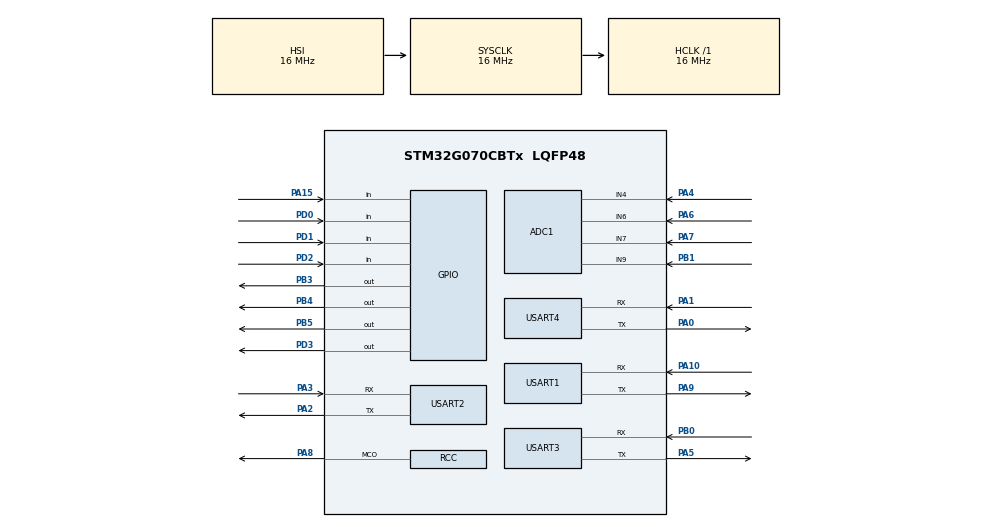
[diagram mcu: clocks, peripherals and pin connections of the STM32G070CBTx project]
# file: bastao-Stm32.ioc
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ADC1.Channel-0\#ChannelRegularConversion=ADC_CHANNEL_4
ADC1.NbrOfConversionFlag=1
ADC1.Rank-0\#ChannelRegularConversion=1
ADC1.SamplingTime-0\#ChannelRegularConversion=ADC_SAMPLINGTIME_COMMON_1
ADC1.SelectedChannel=ADC_CHANNEL_4|ADC_CHANNEL_6|ADC_CHANNEL_7|ADC_CHANNEL_9
ADC1.master=1
Mcu.Family=STM32G0
Mcu.Name=STM32G070CBTx
Mcu.Package=LQFP48
PA0.Mode=Asynchronous
PA0.Signal=USART4_TX
PA1.Mode=Asynchronous
PA1.Signal=USART4_RX
PA10.Mode=Asynchronous
PA10.Signal=USART1_RX
PA13.Mode=Serial_Wire
PA13.Signal=SYS_SWDIO
PA14-BOOT0.Mode=Serial_Wire
PA14-BOOT0.Signal=SYS_SWCLK
PA15.Signal=GPIO_Input
PA2.Mode=Asynchronous
PA2.Signal=USART2_TX
PA3.Mode=Asynchronous
PA3.Signal=USART2_RX
PA4.Mode=IN4
PA4.Signal=ADC1_IN4
PA5.Mode=Asynchronous
PA5.Signal=USART3_TX
PA6.Mode=IN6
PA6.Signal=ADC1_IN6
PA7.Mode=IN7
PA7.Signal=ADC1_IN7
PA8.Mode=Clock-out
PA8.Signal=RCC_MCO
PA9.Mode=Asynchronous
PA9.Signal=USART1_TX
PB0.Mode=Asynchronous
PB0.Signal=USART3_RX
PB1.Mode=IN9
PB1.Signal=ADC1_IN9
PB3.Signal=GPIO_Output
PB4.Signal=GPIO_Output
PB5.Signal=GPIO_Output
PC14-OSC32_IN\ (PC14).Mode=LSE-External-Oscillator
PC14-OSC32_IN\ (PC14).Signal=RCC_OSC32_IN
PC15-OSC32_OUT\ (PC15).Mode=LSE-External-Oscillator
PC15-OSC32_OUT\ (PC15).Signal=RCC_OSC32_OUT
PD0.Signal=GPIO_Input
PD1.Signal=GPIO_Input
PD2.Signal=GPIO_Input
PD3.Signal=GPIO_Output
PF0-OSC_IN\ (PF0).Mode=HSE-External-Oscillator
PF0-OSC_IN\ (PF0).Signal=RCC_OSC_IN
PF1-OSC_OUT\ (PF1).Mode=HSE-External-Oscillator
PF1-OSC_OUT\ (PF1).Signal=RCC_OSC_OUT
ProjectManager.HeapSize=0x200
ProjectManager.StackSize=0x400
ProjectManager.TargetToolchain=STM32CubeIDE
RCC.AHBFreq_Value=16000000
RCC.CortexFreq_Value=16000000
RCC.EXTERNAL_CLOCK_VALUE=48000
RCC.HCLKFreq_Value=16000000
RCC.HSE_VALUE=8000000
RCC.HSI_VALUE=16000000
RCC.SYSCLKFreq_VALUE=16000000
RCC.VCOOutputFreq_Value=128000000
USART1.VirtualMode-Asynchronous=VM_ASYNC
USART2.VirtualMode-Asynchronous=VM_ASYNC
USART3.VirtualMode-Asynchronous=VM_ASYNC
USART4.VirtualMode-Asynchronous=VM_ASYNC
board=custom

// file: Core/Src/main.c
/* USER CODE BEGIN Header */
/**
  ******************************************************************************
  * @file           : main.c
  * @brief          : Main program body
  ******************************************************************************
  * @attention
  *
  * Copyright (c) 2026 STMicroelectronics.
  * All rights reserved.
  *
  * This software is licensed under terms that can be found in the LICENSE file
  * in the root directory of this software component.
  * If no LICENSE file comes with this software, it is provided AS-IS.
  *
  ******************************************************************************
  */
/* USER CODE END Header */
#include "main.h"

/* USER CODE BEGIN Includes */
#include <stdio.h>
#include <string.h>
#include <stdlib.h>
#include "alerts.h"
#include "power_mgmt.h"
#include "rfid_parser.h"

/* USER CODE END Includes */

/* USER CODE BEGIN PD */
#define YRM100_POLL_MS 100

/* Modo de teste do YRM100:
   - Faz poll a cada 500ms
   - Envia dump hex dos bytes recebidos para o ESP32
   - Nao processa tags, buzzer, bateria, etc */
// #define YRM100_TEST_MODE
/* USER CODE END PD */

ADC_HandleTypeDef hadc1;

UART_HandleTypeDef huart1;
UART_HandleTypeDef huart2;
UART_HandleTypeDef huart3;
UART_HandleTypeDef huart4;

/* USER CODE BEGIN PV */
uint8_t byte_yrm100;
uint8_t byte_wl134;
uint8_t cmd_byte;
uint8_t cmd_line_buffer[CMD_BUFFER_SIZE];
volatile uint16_t cmd_line_index;

uint32_t last_battery_check = 0;
uint32_t last_heartbeat = 0;
uint32_t last_yrm100_poll = 0;

/* USER CODE END PV */

void SystemClock_Config(void);
static void MX_GPIO_Init(void);
static void MX_ADC1_Init(void);
static void MX_USART1_UART_Init(void);
static void MX_USART2_UART_Init(void);
static void MX_USART3_UART_Init(void);
static void MX_USART4_UART_Init(void);
/* USER CODE BEGIN PFP */
#ifdef YRM100_TEST_MODE
static void YRM100_TestLoop(void);
#endif
/* USER CODE END PFP */

int main(void)
{

  /* MCU Configuration--------------------------------------------------------*/

  /* Reset of all peripherals, Initializes the Flash interface and the Systick. */
  HAL_Init();

  /* Configure the system clock */
  SystemClock_Config();

  /* Initialize all configured peripherals */
  MX_GPIO_Init();
  MX_ADC1_Init();
  MX_USART1_UART_Init();
  MX_USART2_UART_Init();
  MX_USART3_UART_Init();
  MX_USART4_UART_Init();
  /* USER CODE BEGIN 2 */
  Alerts_Init();
  Power_Init();
  RFID_Init();
  Battery_Init();

  cmd_line_index = 0;

  HAL_GPIO_WritePin(WL134_PWR_PORT, WL134_PWR_PIN, GPIO_PIN_SET);
  HAL_GPIO_WritePin(YRM100_PWR_PORT, YRM100_PWR_PIN, GPIO_PIN_SET);

  HAL_Delay(100);

  /* Ativa RX do YRM100 ANTES de iniciar (precisa receber respostas dos comandos de configuracao) */
  HAL_UART_Receive_IT(&huart4, &byte_yrm100, 1);

  /* Inicializa YRM100: modo, regiao US/America, potencia 20dBm, salva na flash,
     le config de volta e envia para ESP32 */
  YRM100_Init();

  HAL_UART_Receive_IT(&huart3, &byte_wl134, 1);
  HAL_UART_Receive_IT(&huart2, &cmd_byte, 1);

  /* USER CODE END 2 */

  /* Infinite loop */
#ifdef YRM100_TEST_MODE
  YRM100_TestLoop();  /* nunca retorna */
#else
  while (1)
  {
    RFID_Process_YRM100();
    RFID_Process_WL134();

    Buzzer_Update();

    Command_Process();

    uint32_t now = HAL_GetTick();

    if (now - last_yrm100_poll >= YRM100_POLL_MS) {
        YRM100_SinglePoll();
        last_yrm100_poll = now;
    }

    uint32_t hb_interval = (last_heartbeat == 0) ? HEARTBEAT_FIRST_MS : HEARTBEAT_INTERVAL_MS;

    if (now - last_battery_check > 5000) {
        Battery_Read();
        last_battery_check = now;

        float v = Battery_GetVoltage();
        int volt_int = (int)v;
        int volt_frac = (int)((v - volt_int) * 100.0f);
        if (volt_frac < 0) volt_frac = -volt_frac;
        char msg[128];
        sprintf(msg, "{\"type\":\"batt\",\"volt\":%d.%02d}\n", volt_int, volt_frac);
        HAL_UART_Transmit(&huart2, (uint8_t*)msg, strlen(msg), 100);

        Alerts_CheckBattery(v);
    }

    if (now - last_heartbeat > hb_interval) {
        last_heartbeat = now;
        char hb[] = "{\"type\":\"heartbeat\"}\n";
        HAL_UART_Transmit(&huart2, (uint8_t*)hb, strlen(hb), 100);
    }
    /* USER CODE END WHILE */

  }
#endif /* YRM100_TEST_MODE */
}

void SystemClock_Config(void)
{
  RCC_OscInitTypeDef RCC_OscInitStruct = {0};
  RCC_ClkInitTypeDef RCC_ClkInitStruct = {0};

  /** Configure the main internal regulator output voltage
  */
  HAL_PWREx_ControlVoltageScaling(PWR_REGULATOR_VOLTAGE_SCALE1);

  /** Initializes the RCC Oscillators according to the specified parameters
  * in the RCC_OscInitTypeDef structure.
  */
  RCC_OscInitStruct.OscillatorType = RCC_OSCILLATORTYPE_HSI;
  RCC_OscInitStruct.HSIState = RCC_HSI_ON;
  RCC_OscInitStruct.HSIDiv = RCC_HSI_DIV1;
  RCC_OscInitStruct.HSICalibrationValue = RCC_HSICALIBRATION_DEFAULT;
  RCC_OscInitStruct.PLL.PLLState = RCC_PLL_NONE;
  if (HAL_RCC_OscConfig(&RCC_OscInitStruct) != HAL_OK)
  {
    Error_Handler();
  }

  /** Initializes the CPU, AHB and APB buses clocks
  */
  RCC_ClkInitStruct.ClockType = RCC_CLOCKTYPE_HCLK|RCC_CLOCKTYPE_SYSCLK
                              |RCC_CLOCKTYPE_PCLK1;
  RCC_ClkInitStruct.SYSCLKSource = RCC_SYSCLKSOURCE_HSI;
  RCC_ClkInitStruct.AHBCLKDivider = RCC_SYSCLK_DIV1;
  RCC_ClkInitStruct.APB1CLKDivider = RCC_HCLK_DIV1;

  if (HAL_RCC_ClockConfig(&RCC_ClkInitStruct, FLASH_LATENCY_0) != HAL_OK)
  {
    Error_Handler();
  }
  HAL_RCC_MCOConfig(RCC_MCO1, RCC_MCO1SOURCE_SYSCLK, RCC_MCODIV_1);
}

static void MX_ADC1_Init(void)
{

  ADC_ChannelConfTypeDef sConfig = {0};

  /** Configure the global features of the ADC (Clock, Resolution, Data Alignment and number of conversion)
  */
  hadc1.Instance = ADC1;
  hadc1.Init.ClockPrescaler = ADC_CLOCK_SYNC_PCLK_DIV2;
  hadc1.Init.Resolution = ADC_RESOLUTION_12B;
  hadc1.Init.DataAlign = ADC_DATAALIGN_RIGHT;
  hadc1.Init.ScanConvMode = ADC_SCAN_DISABLE;
  hadc1.Init.EOCSelection = ADC_EOC_SINGLE_CONV;
  hadc1.Init.LowPowerAutoWait = DISABLE;
  hadc1.Init.LowPowerAutoPowerOff = DISABLE;
  hadc1.Init.ContinuousConvMode = DISABLE;
  hadc1.Init.NbrOfConversion = 1;
  hadc1.Init.DiscontinuousConvMode = DISABLE;
  hadc1.Init.ExternalTrigConv = ADC_SOFTWARE_START;
  hadc1.Init.ExternalTrigConvEdge = ADC_EXTERNALTRIGCONVEDGE_NONE;
  hadc1.Init.DMAContinuousRequests = DISABLE;
  hadc1.Init.Overrun = ADC_OVR_DATA_PRESERVED;
  hadc1.Init.SamplingTimeCommon1 = ADC_SAMPLETIME_1CYCLE_5;
  hadc1.Init.SamplingTimeCommon2 = ADC_SAMPLETIME_1CYCLE_5;
  hadc1.Init.OversamplingMode = DISABLE;
  hadc1.Init.TriggerFrequencyMode = ADC_TRIGGER_FREQ_HIGH;
  if (HAL_ADC_Init(&hadc1) != HAL_OK)
  {
    Error_Handler();
  }

  /** Configure Regular Channel
  */
  sConfig.Channel = ADC_CHANNEL_4;
  sConfig.Rank = ADC_REGULAR_RANK_1;
  sConfig.SamplingTime = ADC_SAMPLINGTIME_COMMON_1;
  if (HAL_ADC_ConfigChannel(&hadc1, &sConfig) != HAL_OK)
  {
    Error_Handler();
  }

}

static void MX_USART1_UART_Init(void)
{

  huart1.Instance = USART1;
  huart1.Init.BaudRate = 115200;
  huart1.Init.WordLength = UART_WORDLENGTH_8B;
  huart1.Init.StopBits = UART_STOPBITS_1;
  huart1.Init.Parity = UART_PARITY_NONE;
  huart1.Init.Mode = UART_MODE_TX_RX;
  huart1.Init.HwFlowCtl = UART_HWCONTROL_NONE;
  huart1.Init.OverSampling = UART_OVERSAMPLING_16;
  huart1.Init.OneBitSampling = UART_ONE_BIT_SAMPLE_DISABLE;
  huart1.Init.ClockPrescaler = UART_PRESCALER_DIV1;
  huart1.AdvancedInit.AdvFeatureInit = UART_ADVFEATURE_NO_INIT;
  if (HAL_UART_Init(&huart1) != HAL_OK)
  {
    Error_Handler();
  }
  if (HAL_UARTEx_SetTxFifoThreshold(&huart1, UART_TXFIFO_THRESHOLD_1_8) != HAL_OK)
  {
    Error_Handler();
  }
  if (HAL_UARTEx_SetRxFifoThreshold(&huart1, UART_RXFIFO_THRESHOLD_1_8) != HAL_OK)
  {
    Error_Handler();
  }
  if (HAL_UARTEx_DisableFifoMode(&huart1) != HAL_OK)
  {
    Error_Handler();
  }

}

static void MX_USART2_UART_Init(void)
{

  huart2.Instance = USART2;
  huart2.Init.BaudRate = 115200;
  huart2.Init.WordLength = UART_WORDLENGTH_8B;
  huart2.Init.StopBits = UART_STOPBITS_1;
  huart2.Init.Parity = UART_PARITY_NONE;
  huart2.Init.Mode = UART_MODE_TX_RX;
  huart2.Init.HwFlowCtl = UART_HWCONTROL_NONE;
  huart2.Init.OverSampling = UART_OVERSAMPLING_16;
  huart2.Init.OneBitSampling = UART_ONE_BIT_SAMPLE_DISABLE;
  huart2.Init.ClockPrescaler = UART_PRESCALER_DIV1;
  huart2.AdvancedInit.AdvFeatureInit = UART_ADVFEATURE_NO_INIT;
  if (HAL_UART_Init(&huart2) != HAL_OK)
  {
    Error_Handler();
  }
  if (HAL_UARTEx_SetTxFifoThreshold(&huart2, UART_TXFIFO_THRESHOLD_1_8) != HAL_OK)
  {
    Error_Handler();
  }
  if (HAL_UARTEx_SetRxFifoThreshold(&huart2, UART_RXFIFO_THRESHOLD_1_8) != HAL_OK)
  {
    Error_Handler();
  }
  if (HAL_UARTEx_DisableFifoMode(&huart2) != HAL_OK)
  {
    Error_Handler();
  }

}

static void MX_USART3_UART_Init(void)
{

  huart3.Instance = USART3;
  huart3.Init.BaudRate = 9600;
  huart3.Init.WordLength = UART_WORDLENGTH_8B;
  huart3.Init.StopBits = UART_STOPBITS_2;
  huart3.Init.Parity = UART_PARITY_NONE;
  huart3.Init.Mode = UART_MODE_TX_RX;
  huart3.Init.HwFlowCtl = UART_HWCONTROL_NONE;
  huart3.Init.OverSampling = UART_OVERSAMPLING_16;
  huart3.Init.OneBitSampling = UART_ONE_BIT_SAMPLE_DISABLE;
  huart3.Init.ClockPrescaler = UART_PRESCALER_DIV1;
  huart3.AdvancedInit.AdvFeatureInit = UART_ADVFEATURE_NO_INIT;
  if (HAL_UART_Init(&huart3) != HAL_OK)
  {
    Error_Handler();
  }

}

static void MX_USART4_UART_Init(void)
{

  huart4.Instance = USART4;
  huart4.Init.BaudRate = 115200;
  huart4.Init.WordLength = UART_WORDLENGTH_8B;
  huart4.Init.StopBits = UART_STOPBITS_1;
  huart4.Init.Parity = UART_PARITY_NONE;
  huart4.Init.Mode = UART_MODE_TX_RX;
  huart4.Init.HwFlowCtl = UART_HWCONTROL_NONE;
  huart4.Init.OverSampling = UART_OVERSAMPLING_16;
  huart4.Init.OneBitSampling = UART_ONE_BIT_SAMPLE_DISABLE;
  huart4.Init.ClockPrescaler = UART_PRESCALER_DIV1;
  huart4.AdvancedInit.AdvFeatureInit = UART_ADVFEATURE_NO_INIT;
  if (HAL_UART_Init(&huart4) != HAL_OK)
  {
    Error_Handler();
  }

}

static void MX_GPIO_Init(void)
{
  GPIO_InitTypeDef GPIO_InitStruct = {0};

  /* GPIO Ports Clock Enable */
  __HAL_RCC_GPIOC_CLK_ENABLE();
  __HAL_RCC_GPIOF_CLK_ENABLE();
  __HAL_RCC_GPIOA_CLK_ENABLE();
  __HAL_RCC_GPIOB_CLK_ENABLE();
  __HAL_RCC_GPIOD_CLK_ENABLE();

  /*Configure GPIO pin Output Level */
  HAL_GPIO_WritePin(GPIOD, GPIO_PIN_3, GPIO_PIN_RESET);

  /*Configure GPIO pin Output Level */
  HAL_GPIO_WritePin(GPIOB, GPIO_PIN_3|GPIO_PIN_4|GPIO_PIN_5, GPIO_PIN_RESET);

  /*Configure GPIO pin : PA8 */
  GPIO_InitStruct.Pin = GPIO_PIN_8;
  GPIO_InitStruct.Mode = GPIO_MODE_AF_PP;
  GPIO_InitStruct.Pull = GPIO_NOPULL;
  GPIO_InitStruct.Speed = GPIO_SPEED_FREQ_LOW;
  GPIO_InitStruct.Alternate = GPIO_AF0_MCO;
  HAL_GPIO_Init(GPIOA, &GPIO_InitStruct);

  /*Configure GPIO pin : PA15 */
  GPIO_InitStruct.Pin = GPIO_PIN_15;
  GPIO_InitStruct.Mode = GPIO_MODE_INPUT;
  GPIO_InitStruct.Pull = GPIO_NOPULL;
  HAL_GPIO_Init(GPIOA, &GPIO_InitStruct);

  /*Configure GPIO pins : PD0 PD1 PD2 */
  GPIO_InitStruct.Pin = GPIO_PIN_0|GPIO_PIN_1|GPIO_PIN_2;
  GPIO_InitStruct.Mode = GPIO_MODE_INPUT;
  GPIO_InitStruct.Pull = GPIO_NOPULL;
  HAL_GPIO_Init(GPIOD, &GPIO_InitStruct);

  /*Configure GPIO pin : PD3 */
  GPIO_InitStruct.Pin = GPIO_PIN_3;
  GPIO_InitStruct.Mode = GPIO_MODE_OUTPUT_PP;
  GPIO_InitStruct.Pull = GPIO_NOPULL;
  GPIO_InitStruct.Speed = GPIO_SPEED_FREQ_LOW;
  HAL_GPIO_Init(GPIOD, &GPIO_InitStruct);

  /*Configure GPIO pins : PB3 PB4 PB5 */
  GPIO_InitStruct.Pin = GPIO_PIN_3|GPIO_PIN_4|GPIO_PIN_5;
  GPIO_InitStruct.Mode = GPIO_MODE_OUTPUT_PP;
  GPIO_InitStruct.Pull = GPIO_NOPULL;
  GPIO_InitStruct.Speed = GPIO_SPEED_FREQ_LOW;
  HAL_GPIO_Init(GPIOB, &GPIO_InitStruct);

}

/* USER CODE BEGIN 4 */
void HAL_UART_RxCpltCallback(UART_HandleTypeDef *huart) {
    if (huart->Instance == USART4) {
        RFID_StoreByte(byte_yrm100, 1);
        HAL_UART_Receive_IT(&huart4, &byte_yrm100, 1);
    } else if (huart->Instance == USART3) {
        RFID_StoreByte(byte_wl134, 0);
        HAL_UART_Receive_IT(&huart3, &byte_wl134, 1);
    } else if (huart->Instance == USART2) {
        if (cmd_byte == '\n' || cmd_byte == '\r') {
            if (cmd_line_index > 0) {
                cmd_line_buffer[cmd_line_index] = '\0';
                Alerts_ProcessCommand((const char*)cmd_line_buffer);
                cmd_line_index = 0;
            }
        } else if (cmd_line_index < CMD_BUFFER_SIZE - 1) {
            cmd_line_buffer[cmd_line_index++] = cmd_byte;
        }
        HAL_UART_Receive_IT(&huart2, &cmd_byte, 1);
    }
}

void Command_Process(void) {
    static uint8_t last_buzzer_state = 0;
    uint8_t current_buzzer = Buzzer_IsActive() ? 1 : 0;

    if (current_buzzer != last_buzzer_state) {
        last_buzzer_state = current_buzzer;
    }

    if (Alerts_IsBatteryCritical()) {
        char led_state = (HAL_GetTick() / 500) % 2;
        HAL_GPIO_WritePin(LED_STATUS_PORT, LED_STATUS_PIN,
            led_state ? GPIO_PIN_SET : GPIO_PIN_RESET);
    } else {
        HAL_GPIO_WritePin(LED_STATUS_PORT, LED_STATUS_PIN, GPIO_PIN_RESET);
    }
}

#ifdef YRM100_TEST_MODE
static void YRM100_TestLoop(void)
{
    uint8_t raw[256];
    uint16_t len;
    char hex[512];
    char json[600];
    uint32_t last_test_poll = 0;

    while (1) {
        uint32_t now = HAL_GetTick();
        if (now - last_test_poll < 500) {
            // Processa RX interrupt enquanto espera
            continue;
        }
        last_test_poll = now;

        // Descarrega buffer residual antes do comando
        YRM100_FlushBuffer();

        // Envia comando 0x22 (single poll)
        uint8_t cmd[] = {0xBB, 0x00, 0x22, 0x00, 0x00, 0x22, 0x7E};
        HAL_UART_Transmit(&huart4, cmd, sizeof(cmd), 100);

        // Aguarda ate 200ms por dados
        uint32_t start = HAL_GetTick();
        while ((HAL_GetTick() - start) < 200) {
            if (RFID_HasData(1)) break;
        }

        // Le todos os bytes brutos do buffer
        len = YRM100_ReadRawBuffer(raw, sizeof(raw));

        if (len == 0) {
            char msg[] = "{\"type\":\"yrm100_test\",\"status\":\"no_response\"}\n";
            HAL_UART_Transmit(&huart2, (uint8_t*)msg, strlen(msg), 100);
        } else {
            // Monta hex dump
            int pos = 0;
            for (uint16_t i = 0; i < len && pos < (int)sizeof(hex) - 10; i++) {
                int n = sprintf(hex + pos, "%02X ", raw[i]);
                if (n > 0) pos += n;
            }
            if (pos > 0) hex[pos - 1] = '\0'; // remove trailing space
            else hex[0] = '\0';

            sprintf(json, "{\"type\":\"yrm100_test\",\"len\":%d,\"hex\":\"%s\"}\n", len, hex);
            HAL_UART_Transmit(&huart2, (uint8_t*)json, strlen(json), 100);
        }
    }
}
#endif /* YRM100_TEST_MODE */

/* USER CODE END 4 */

void Error_Handler(void)
{
  __disable_irq();
  while (1)
  {
  }
}
